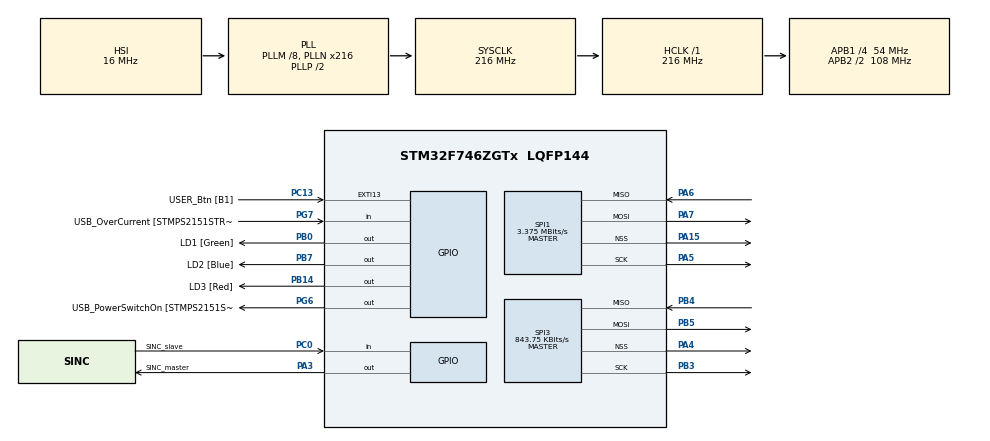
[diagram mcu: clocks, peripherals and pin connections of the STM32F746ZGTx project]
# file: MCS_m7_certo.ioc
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FATFS._FS_EXFAT=1
FATFS._FS_LOCK=1
FATFS._FS_NORTC=0
FATFS._USE_LFN=1
Mcu.Family=STM32F7
Mcu.Name=STM32F746ZGTx
Mcu.Package=LQFP144
NVIC.PriorityGroup=NVIC_PRIORITYGROUP_4
PA1.GPIO_Label=RMII_REF_CLK [LAN8742A-CZ-TR_REFCLK0]
PA1.Signal=ETH_REF_CLK
PA10.GPIO_Label=USB_ID
PA10.Signal=USB_OTG_FS_ID
PA11.GPIO_Label=USB_DM
PA11.Signal=USB_OTG_FS_DM
PA12.GPIO_Label=USB_DP
PA12.Signal=USB_OTG_FS_DP
PA13.GPIO_Label=TMS
PA13.Signal=SYS_JTMS-SWDIO
PA14.GPIO_Label=TCK
PA14.Signal=SYS_JTCK-SWCLK
PA15.Mode=NSS_Signal_Hard_Output
PA15.Signal=SPI1_NSS
PA2.GPIO_Label=RMII_MDIO [LAN8742A-CZ-TR_MDIO]
PA2.Signal=ETH_MDIO
PA3.GPIO_Label=SINC_master
PA3.GPIO_ModeDefaultOutputPP=GPIO_MODE_OUTPUT_PP
PA3.GPIO_PuPd=GPIO_NOPULL
PA3.GPIO_Speed=GPIO_SPEED_FREQ_VERY_HIGH
PA3.Signal=GPIO_Output
PA4.Mode=NSS_Signal_Hard_Output
PA4.Signal=SPI3_NSS
PA5.Mode=Full_Duplex_Master
PA5.Signal=SPI1_SCK
PA6.Mode=Full_Duplex_Master
PA6.Signal=SPI1_MISO
PA7.Mode=Full_Duplex_Master
PA7.Signal=SPI1_MOSI
PA8.GPIO_Label=USB_SOF [TP1]
PA8.Signal=USB_OTG_FS_SOF
PA9.GPIO_Label=USB_VBUS
PA9.Signal=USB_OTG_FS_VBUS
PB0.GPIO_Label=LD1 [Green]
PB0.Signal=GPIO_Output
PB13.GPIO_Label=RMII_TXD1 [LAN8742A-CZ-TR_TXD1]
PB13.Signal=ETH_TXD1
PB14.GPIO_Label=LD3 [Red]
PB14.Signal=GPIO_Output
PB3.Mode=Full_Duplex_Master
PB3.Signal=SPI3_SCK
PB4.Mode=Full_Duplex_Master
PB4.Signal=SPI3_MISO
PB5.Mode=Full_Duplex_Master
PB5.Signal=SPI3_MOSI
PB7.GPIO_Label=LD2 [Blue]
PB7.Signal=GPIO_Output
PC0.GPIO_Label=SINC_slave
PC0.Signal=GPIO_Input
PC1.GPIO_Label=RMII_MDC [LAN8742A-CZ-TR_MDC]
PC1.Signal=ETH_MDC
PC13.GPIO_Label=USER_Btn [B1]
PC13.Signal=GPXTI13
PC14/OSC32_IN.Signal=RCC_OSC32_IN
PC15/OSC32_OUT.Signal=RCC_OSC32_OUT
PD8.GPIO_Label=STLK_RX [STM32F103CBT6_PA3]
PD8.Signal=USART3_TX
PD9.GPIO_Label=STLK_TX [STM32F103CBT6_PA2]
PD9.Signal=USART3_RX
PG11.GPIO_Label=RMII_TX_EN [LAN8742A-CZ-TR_TXEN]
PG11.Signal=ETH_TX_EN
PG13.GPIO_Label=RMII_TXD0 [LAN8742A-CZ-TR_TXD0]
PG13.Signal=ETH_TXD0
PG6.GPIO_Label=USB_PowerSwitchOn [STMPS2151STR_EN]
PG6.Signal=GPIO_Output
PG7.GPIO_Label=USB_OverCurrent [STMPS2151STR_FAULT]
PG7.Signal=GPIO_Input
PH0/OSC_IN.GPIO_Label=MCO [STM32F103CBT6_PA8]
PH0/OSC_IN.Signal=RCC_OSC_IN
PH1/OSC_OUT.Signal=RCC_OSC_OUT
ProjectManager.HeapSize=0x200
ProjectManager.StackSize=0x400
ProjectManager.TargetToolchain=STM32CubeIDE
RCC.48MHZClocksFreq_Value=24000000
RCC.AHBFreq_Value=216000000
RCC.APB1CLKDivider=RCC_HCLK_DIV4
RCC.APB1Freq_Value=54000000
RCC.APB1TimFreq_Value=108000000
RCC.APB2CLKDivider=RCC_HCLK_DIV2
RCC.APB2Freq_Value=108000000
RCC.APB2TimFreq_Value=216000000
RCC.CortexFreq_Value=216000000
RCC.HCLKFreq_Value=216000000
RCC.HSE_VALUE=8000000
RCC.HSI_VALUE=16000000
RCC.LSE_VALUE=32768
RCC.PLLM=8
RCC.PLLMUL=RCC_PLL_MUL9
RCC.PLLN=216
RCC.PRESCALERUSB=RCC_USBCLKSOURCE_PLL_DIV1_5
RCC.SYSCLKFreq_VALUE=216000000
RCC.SYSCLKSource=RCC_SYSCLKSOURCE_PLLCLK
RCC.SYSCLKSourceVirtual=RCC_SYSCLKSOURCE_PLLCLK
RCC.USBFreq_Value=216000000
RCC.VCOOutputFreq_Value=432000000
SPI1.BaudRatePrescaler=SPI_BAUDRATEPRESCALER_32
SPI1.CalculateBaudRate=3.375 MBits/s
SPI1.DataSize=SPI_DATASIZE_8BIT
SPI1.Direction=SPI_DIRECTION_2LINES
SPI1.Mode=SPI_MODE_MASTER
SPI1.VirtualNSS=VM_NSSHARD
SPI1.VirtualType=VM_MASTER
SPI3.BaudRatePrescaler=SPI_BAUDRATEPRESCALER_64
SPI3.CalculateBaudRate=843.75 KBits/s
SPI3.DataSize=SPI_DATASIZE_8BIT
SPI3.Direction=SPI_DIRECTION_2LINES
SPI3.Mode=SPI_MODE_MASTER
SPI3.VirtualNSS=VM_NSSHARD
SPI3.VirtualType=VM_MASTER
VP_FATFS_VS_Generic.Mode=User_defined
board=NUCLEO-F746ZG

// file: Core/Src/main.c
/* USER CODE BEGIN Header */
/**
  ******************************************************************************
  * @file           : main.c
  * @brief          : Main program body
  ******************************************************************************
  * @attention
  *
  * Copyright (c) 2025 STMicroelectronics.
  * All rights reserved.
  *
  * This software is licensed under terms that can be found in the LICENSE file
  * in the root directory of this software component.
  * If no LICENSE file comes with this software, it is provided AS-IS.
  *
  ******************************************************************************
  */
/* USER CODE END Header */
#include "main.h"
#include "fatfs.h"
#include "spi.h"
#include "gpio.h"

/* USER CODE BEGIN Includes */
#include <stdlib.h>
#include <string.h>
#include <stdio.h>
#include <math.h>
#include "FK.h"
#include "atitude.h"

/* USER CODE END Includes */

/* USER CODE BEGIN PTD */
/*union calib_t{
	uint8_t inteiro[4];
	float flutuante;
};

#define tam 1112*/

/* USER CODE END PTD */

/* USER CODE BEGIN PD */
#define tam 1201
/* USER CODE END PD */

/* USER CODE BEGIN PV */
double mx[tam] = {0}, my[tam] = {0}, mz[tam] = {0}, ax[tam] = {0}, ay[tam] = {0}, az[tam] = {0}, gx[tam] = {0}, gy[tam] = {0}, gz[tam] = {0};
double quat_res[4][tam] = {0}, x_est_res[7][tam] = {0}, x_prop_res[7][tam] = {0};
double x_prop[7] = {0}, x_est[7] = {0, 0 ,0, 1, 0, 0, 0}, PT_prop[6][6] = {0}, PT_est[6][6] = {0}, P_est[7][7] = {0}, R[3][3] = {0}, q[4] = {0};
double v1[3] = {0, 1, 0}, v2[3] = {0, -0.6, 0.8};
double w1[3] = {0};
double w2[3] = {0};
double gyro[3] = {0};
uint16_t time = 0;
uint16_t start_time = 0;
uint16_t time_res[tam] = {0};
/* USER CODE END PV */

void SystemClock_Config(void);

int main(void)
{

  /* USER CODE BEGIN 1 */
  char file_read[25] = {0};
  uint16_t i = 0;
  /* USER CODE END 1 */

  /* MCU Configuration--------------------------------------------------------*/

  /* Reset of all peripherals, Initializes the Flash interface and the Systick. */
  HAL_Init();

  /* Configure the system clock */
  SystemClock_Config();

  /* Initialize all configured peripherals */
  MX_GPIO_Init();
  MX_SPI3_Init();
  MX_FATFS_Init();
  MX_SPI1_Init();
  /* USER CODE BEGIN 2 */
  uint32_t start_time = 0;
  //union calib_t param1[9], param2[9];
  prepara();

  FATFS fs;
  FRESULT res;

  // Monta o sistema de arquivos na unidade lógica "0:"
  HAL_Delay(1000);
  res = f_mount(&fs, "0:", 1);
  if (res != FR_OK) {
      //printf("Falha ao montar o sistema de arquivos: %d\n", res);
      Error_Handler(); // ou retorne um erro
  }

  /* USER CODE END 2 */

  /* Infinite loop */
  /* USER CODE BEGIN WHILE */
  while (1)
  {
	sprintf(file_read, "0:/DATA1/accel.txt");  // Prefixo de volume (0:) é comum no FatFs

	FIL fil;
	FRESULT res;

	res = f_open(&fil, file_read, FA_READ);
	if (res != FR_OK)
	{
		return 1;
	}

	char line[30670];
	UINT br; // Bytes lidos

	double *linhas[] = {ax, ay, az};  // Vetor de ponteiros para facilitar o acesso

	for (int i = 0; i < 3; i++)
	{
		// lê uma linha completa (até '\n' ou fim do buffer)
		int line_pos = 0;
		char ch;
		do {
			res = f_read(&fil, &ch, 1, &br);
			if (res != FR_OK || br == 0) {
				return 1;
			}
			line[line_pos++] = ch;
		} while (ch != '\n' && line_pos < sizeof(line)-1);
		line[line_pos] = '\0';

		char *token = strtok(line, ",");
		int j = 0;

		while (token != NULL && j < tam)
		{
			linhas[i][j] = strtof(token, NULL);
			token = strtok(NULL, ",");
			j++;
		}

		if (j != tam)
		{
			return 1;
		}
	}

	f_close(&fil);

	sprintf(file_read, "0:/DATA1/mag.txt");  // Prefixo de volume (0:) é comum no FatFs

	res = f_open(&fil, file_read, FA_READ);
	if (res != FR_OK)
	{
		return 1;
	}

	double *linhasm[] = {mx, my, mz};  // Vetor de ponteiros para facilitar o acesso

	for (int i = 0; i < 3; i++)
	{
		// lê uma linha completa (até '\n' ou fim do buffer)
		int line_pos = 0;
		char ch;
		do {
			res = f_read(&fil, &ch, 1, &br);
			if (res != FR_OK || br == 0) {
				return 1;
			}
			line[line_pos++] = ch;
		} while (ch != '\n' && line_pos < sizeof(line)-1);
		line[line_pos] = '\0';

		char *token = strtok(line, ",");
		int j = 0;

		while (token != NULL && j < tam)
		{
			linhasm[i][j] = strtof(token, NULL);
			token = strtok(NULL, ",");
			j++;
		}

		if (j != tam)
		{
			return 1;
		}
	}

	f_close(&fil);

	sprintf(file_read, "0:/DATA1/gyro.txt");  // Prefixo de volume (0:) é comum no FatFs

		res = f_open(&fil, file_read, FA_READ);
		if (res != FR_OK)
		{
			return 1;
		}

		double *linhasg[] = {gx, gy, gz};  // Vetor de ponteiros para facilitar o acesso

		for (int i = 0; i < 3; i++)
		{
			// lê uma linha completa (até '\n' ou fim do buffer)
			int line_pos = 0;
			char ch;
			do {
				res = f_read(&fil, &ch, 1, &br);
				if (res != FR_OK || br == 0) {
					return 1;
				}
				line[line_pos++] = ch;
			} while (ch != '\n' && line_pos < sizeof(line)-1);
			line[line_pos] = '\0';

			char *token = strtok(line, ",");
			int j = 0;

			while (token != NULL && j < tam)
			{
				linhasg[i][j] = strtof(token, NULL);
				token = strtok(NULL, ",");
				j++;
			}

			if (j != tam)
			{
				return 1;
			}
		}

		f_close(&fil);

		for(uint8_t j = 0; j < 7; j++)
		{
			PT_est[j][j] = 1e6;
		}

	//Implementação
	while(i < tam)
	{

		w1[0] = ax[i];
		w1[1] = ay[i];
		w1[2] = az[i];
		w2[0] = mx[i];
		w2[1] = my[i];
		w2[2] = mz[i];
		gyro[0] = gx[i];
		gyro[1] = gy[i];
		gyro[2] = gz[i];

		start_time = HAL_GetTick();
		TRIAD(v1, v2, w1, w2, q, 0.01, 0.01, R);
		FK_prop(gyro, 0.05, PT_est, x_est, x_prop, PT_prop);
		FK_estimador(x_prop, PT_prop, q, R, (uint8_t)(i+1), x_est, PT_est, P_est);
		time = HAL_GetTick() - start_time;

		for(uint8_t ii = 0; ii < 7; ii++)
		{
			x_prop_res[ii][i] = x_prop[ii];
			x_est_res[ii][i] = x_est[ii];
		}
		for(uint8_t ii = 0; ii < 4; ii++)
		{
			quat_res[ii][i] = q[ii];
		}

		time_res[i] = time;
		HAL_GPIO_WritePin(GPIOB, GPIO_PIN_7, GPIO_PIN_SET);
		HAL_Delay(5);
		HAL_GPIO_WritePin(GPIOB, GPIO_PIN_7, GPIO_PIN_RESET);
		i++;
	}

	sprintf(file_read, "0:/RES/q.txt");
	res = f_open(&fil, file_read, FA_WRITE | FA_CREATE_ALWAYS);
	if (res != FR_OK)
	{
		return 1;
	}

	char out_line[128];
	UINT bw;

	for (int i = 0; i < 1201; i++) {
		sprintf(out_line, "%f, %f, %f, %f\n", quat_res[0][i], quat_res[1][i], quat_res[2][i], quat_res[3][i]);
		f_write(&fil, out_line, strlen(out_line), &bw);
	}
	f_close(&fil);

	HAL_GPIO_WritePin(GPIOB, GPIO_PIN_14, GPIO_PIN_SET);
	HAL_Delay(100);
	HAL_GPIO_WritePin(GPIOB, GPIO_PIN_14, GPIO_PIN_RESET);

	sprintf(file_read, "0:/RES/x_prop.txt");
	res = f_open(&fil, file_read, FA_WRITE | FA_CREATE_ALWAYS);
	if (res != FR_OK)
	{
		return 1;
	}

	for (int i = 0; i < 1201; i++) {
		sprintf(out_line, "%f, %f, %f, %f, %f, %f, %f\n", x_prop_res[0][i], x_prop_res[1][i], x_prop_res[2][i], x_prop_res[3][i], x_prop_res[4][i], x_prop_res[5][i], x_prop_res[6][i]);
		f_write(&fil, out_line, strlen(out_line), &bw);
	}
	f_close(&fil);
	HAL_GPIO_WritePin(GPIOB, GPIO_PIN_14, GPIO_PIN_SET);
	HAL_Delay(100);
	HAL_GPIO_WritePin(GPIOB, GPIO_PIN_14, GPIO_PIN_RESET);

	sprintf(file_read, "0:/RES/x_est.txt");
	res = f_open(&fil, file_read, FA_WRITE | FA_CREATE_ALWAYS);
	if (res != FR_OK)
	{
		return 1;
	}

	for (int i = 0; i < 1201; i++) {
		sprintf(out_line, "%f, %f, %f, %f, %f, %f, %f\n", x_est_res[0][i], x_est_res[1][i], x_est_res[2][i], x_est_res[3][i], x_est_res[4][i], x_est_res[5][i], x_est_res[6][i]);
		f_write(&fil, out_line, strlen(out_line), &bw);
	}
	f_close(&fil);
	HAL_GPIO_WritePin(GPIOB, GPIO_PIN_14, GPIO_PIN_SET);
	HAL_Delay(100);
	HAL_GPIO_WritePin(GPIOB, GPIO_PIN_14, GPIO_PIN_RESET);

	sprintf(file_read, "0:/RES/time.txt");
	res = f_open(&fil, file_read, FA_WRITE | FA_CREATE_ALWAYS);
	if (res != FR_OK)
	{
		return 1;
	}

	for (int i = 0; i < 1201; i++) {
		sprintf(out_line, "%d\n", time_res[i]);
		f_write(&fil, out_line, strlen(out_line), &bw);
	}
	f_close(&fil);

	HAL_GPIO_WritePin(GPIOB, GPIO_PIN_14, GPIO_PIN_SET);
	HAL_Delay(500);
	HAL_GPIO_WritePin(GPIOB, GPIO_PIN_14, GPIO_PIN_RESET);

	break;
    /* USER CODE END WHILE */

  }
}

void SystemClock_Config(void)
{
  RCC_OscInitTypeDef RCC_OscInitStruct = {0};
  RCC_ClkInitTypeDef RCC_ClkInitStruct = {0};

  /** Configure the main internal regulator output voltage
  */
  __HAL_RCC_PWR_CLK_ENABLE();
  __HAL_PWR_VOLTAGESCALING_CONFIG(PWR_REGULATOR_VOLTAGE_SCALE1);

  /** Initializes the RCC Oscillators according to the specified parameters
  * in the RCC_OscInitTypeDef structure.
  */
  RCC_OscInitStruct.OscillatorType = RCC_OSCILLATORTYPE_HSI;
  RCC_OscInitStruct.HSIState = RCC_HSI_ON;
  RCC_OscInitStruct.HSICalibrationValue = RCC_HSICALIBRATION_DEFAULT;
  RCC_OscInitStruct.PLL.PLLState = RCC_PLL_ON;
  RCC_OscInitStruct.PLL.PLLSource = RCC_PLLSOURCE_HSI;
  RCC_OscInitStruct.PLL.PLLM = 8;
  RCC_OscInitStruct.PLL.PLLN = 216;
  RCC_OscInitStruct.PLL.PLLP = RCC_PLLP_DIV2;
  RCC_OscInitStruct.PLL.PLLQ = 2;
  if (HAL_RCC_OscConfig(&RCC_OscInitStruct) != HAL_OK)
  {
    Error_Handler();
  }

  /** Activate the Over-Drive mode
  */
  if (HAL_PWREx_EnableOverDrive() != HAL_OK)
  {
    Error_Handler();
  }

  /** Initializes the CPU, AHB and APB buses clocks
  */
  RCC_ClkInitStruct.ClockType = RCC_CLOCKTYPE_HCLK|RCC_CLOCKTYPE_SYSCLK
                              |RCC_CLOCKTYPE_PCLK1|RCC_CLOCKTYPE_PCLK2;
  RCC_ClkInitStruct.SYSCLKSource = RCC_SYSCLKSOURCE_PLLCLK;
  RCC_ClkInitStruct.AHBCLKDivider = RCC_SYSCLK_DIV1;
  RCC_ClkInitStruct.APB1CLKDivider = RCC_HCLK_DIV4;
  RCC_ClkInitStruct.APB2CLKDivider = RCC_HCLK_DIV2;

  if (HAL_RCC_ClockConfig(&RCC_ClkInitStruct, FLASH_LATENCY_7) != HAL_OK)
  {
    Error_Handler();
  }
}

void Error_Handler(void)
{
  /* USER CODE BEGIN Error_Handler_Debug */
  /* User can add his own implementation to report the HAL error return state */
  __disable_irq();
  HAL_GPIO_WritePin(GPIOB, GPIO_PIN_0, SET);
  while (1)
  {
  }
  /* USER CODE END Error_Handler_Debug */
}
